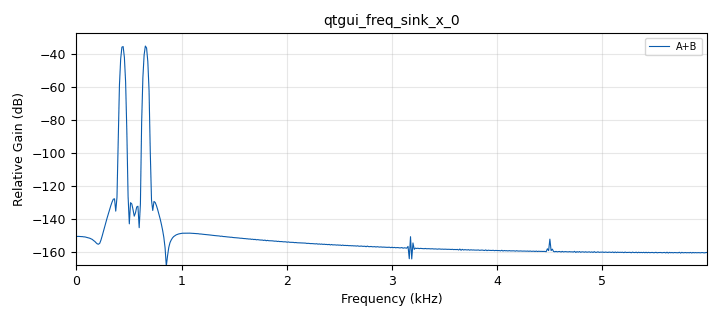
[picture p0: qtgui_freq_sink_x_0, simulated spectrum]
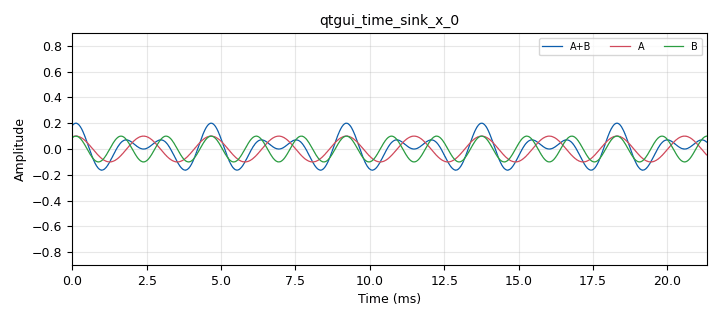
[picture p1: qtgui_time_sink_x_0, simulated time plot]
<?xml version='1.0' encoding='utf-8'?>
<?grc format='1' created='3.7.13'?>
<flow_graph>
<block>
<key>options</key>
<param><key>id</key><value>LeftRightAudio</value></param>
<param><key>author</key><value>Science Aficionado</value></param>
<param><key>description</key><value>Control Left+Rigth Audio Tones and Volume</value></param>
<param><key>generate_options</key><value>qt_gui</value></param>
<param><key>title</key><value>LeftRightAudio</value></param>
</block>
<block>
<key>variable_qtgui_range</key>
<param><key>id</key><value>ToneA</value></param>
<param><key>value</key><value>440</value></param>
<param><key>gui_hint</key><value>4,0, 1, 5</value></param>
<param><key>label</key><value>ToneA (Hz)</value></param>
<param><key>min_len</key><value>1</value></param>
<param><key>orient</key><value>Qt.Horizontal</value></param>
<param><key>start</key><value>110</value></param>
<param><key>step</key><value>110</value></param>
<param><key>stop</key><value>11000</value></param>
</block>
<block>
<key>variable_qtgui_range</key>
<param><key>id</key><value>ToneB</value></param>
<param><key>value</key><value>660</value></param>
<param><key>gui_hint</key><value>5,0,1,5</value></param>
<param><key>label</key><value>ToneB (Hz)</value></param>
<param><key>min_len</key><value>1</value></param>
<param><key>orient</key><value>Qt.Horizontal</value></param>
<param><key>start</key><value>110</value></param>
<param><key>step</key><value>110</value></param>
<param><key>stop</key><value>6600</value></param>
</block>
<block>
<key>variable_qtgui_range</key>
<param><key>id</key><value>VolumeA</value></param>
<param><key>value</key><value>.1</value></param>
<param><key>gui_hint</key><value>4,5,1,1</value></param>
<param><key>min_len</key><value>1</value></param>
<param><key>orient</key><value>Qt.Horizontal</value></param>
<param><key>start</key><value>0</value></param>
<param><key>step</key><value>.05</value></param>
<param><key>stop</key><value>1</value></param>
<param><key>widget</key><value>dial</value></param>
</block>
<block>
<key>variable_qtgui_range</key>
<param><key>id</key><value>VolumeB</value></param>
<param><key>value</key><value>.1</value></param>
<param><key>gui_hint</key><value>5,5,1,1</value></param>
<param><key>min_len</key><value>1</value></param>
<param><key>orient</key><value>Qt.Horizontal</value></param>
<param><key>start</key><value>0</value></param>
<param><key>step</key><value>.05</value></param>
<param><key>stop</key><value>1</value></param>
<param><key>widget</key><value>dial</value></param>
</block>
<block>
<key>variable</key>
<param><key>id</key><value>samp_rate</value></param>
<param><key>value</key><value>48000</value></param>
</block>
<block>
<key>analog_sig_source_x</key>
<param><key>id</key><value>SourceA</value></param>
<param><key>amp</key><value>VolumeA</value></param>
<param><key>freq</key><value>ToneA</value></param>
<param><key>offset</key><value>0</value></param>
<param><key>type</key><value>float</value></param>
<param><key>samp_rate</key><value>samp_rate</value></param>
<param><key>waveform</key><value>analog.GR_COS_WAVE</value></param>
</block>
<block>
<key>analog_sig_source_x</key>
<param><key>id</key><value>SourceB</value></param>
<param><key>amp</key><value>VolumeB</value></param>
<param><key>freq</key><value>ToneB</value></param>
<param><key>offset</key><value>0</value></param>
<param><key>type</key><value>float</value></param>
<param><key>samp_rate</key><value>samp_rate</value></param>
<param><key>waveform</key><value>analog.GR_COS_WAVE</value></param>
</block>
<block>
<key>audio_sink</key>
<param><key>id</key><value>audio_sink_0</value></param>
<param><key>num_inputs</key><value>2</value></param>
<param><key>ok_to_block</key><value>False</value></param>
<param><key>samp_rate</key><value>samp_rate</value></param>
</block>
<block>
<key>audio_source</key>
<param><key>id</key><value>audio_source_0</value></param>
<param><key>samp_rate</key><value>samp_rate</value></param>
</block>
<block>
<key>blocks_add_xx</key>
<param><key>id</key><value>blocks_add_xx_0</value></param>
<param><key>type</key><value>float</value></param>
</block>
<block>
<key>blocks_add_xx</key>
<param><key>id</key><value>blocks_add_xx_0_0</value></param>
<param><key>type</key><value>float</value></param>
</block>
<block>
<key>blocks_multiply_const_vxx</key>
<param><key>id</key><value>blocks_multiply_const_vxx_0_2</value></param>
<param><key>const</key><value>0.</value></param>
<param><key>type</key><value>float</value></param>
</block>
<block>
<key>qtgui_freq_sink_x</key>
<param><key>id</key><value>qtgui_freq_sink_x_0</value></param>
<param><key>autoscale</key><value>True</value></param>
<param><key>bw</key><value>samp_rate/4</value></param>
<param><key>fc</key><value>0</value></param>
<param><key>fftsize</key><value>1024</value></param>
<param><key>gui_hint</key><value>2,0,2,6</value></param>
<param><key>grid</key><value>True</value></param>
<param><key>label1</key><value>A+B</value></param>
<param><key>showports</key><value>True</value></param>
<param><key>freqhalf</key><value>False</value></param>
<param><key>type</key><value>float</value></param>
<param><key>wintype</key><value>firdes.WIN_BLACKMAN_hARRIS</value></param>
<param><key>ymax</key><value>0</value></param>
</block>
<block>
<key>qtgui_time_sink_x</key>
<param><key>id</key><value>qtgui_time_sink_x_0</value></param>
<param><key>entags</key><value>False</value></param>
<param><key>gui_hint</key><value>0,0,2,6</value></param>
<param><key>color1</key><value>"blue"</value></param>
<param><key>label1</key><value>A+B</value></param>
<param><key>color2</key><value>"dark red"</value></param>
<param><key>label2</key><value>A</value></param>
<param><key>color3</key><value>"green"</value></param>
<param><key>label3</key><value>B</value></param>
<param><key>nconnections</key><value>3</value></param>
<param><key>size</key><value>1024</value></param>
<param><key>srate</key><value>samp_rate</value></param>
<param><key>type</key><value>float</value></param>
<param><key>ymax</key><value>.9</value></param>
<param><key>ymin</key><value>-.9</value></param>
</block>
<block>
<key>rational_resampler_xxx</key>
<param><key>id</key><value>rational_resampler_xxx_0</value></param>
<param><key>decim</key><value>4</value></param>
<param><key>interp</key><value>1</value></param>
<param><key>taps</key><value></value></param>
<param><key>type</key><value>fff</value></param>
</block>
<connection><source_block_id>SourceA</source_block_id><sink_block_id>blocks_add_xx_0</sink_block_id><source_key>0</source_key><sink_key>1</sink_key></connection>
<connection><source_block_id>SourceA</source_block_id><sink_block_id>blocks_add_xx_0_0</sink_block_id><source_key>0</source_key><sink_key>0</sink_key></connection>
<connection><source_block_id>SourceA</source_block_id><sink_block_id>qtgui_time_sink_x_0</sink_block_id><source_key>0</source_key><sink_key>1</sink_key></connection>
<connection><source_block_id>SourceB</source_block_id><sink_block_id>audio_sink_0</sink_block_id><source_key>0</source_key><sink_key>1</sink_key></connection>
<connection><source_block_id>SourceB</source_block_id><sink_block_id>blocks_add_xx_0_0</sink_block_id><source_key>0</source_key><sink_key>1</sink_key></connection>
<connection><source_block_id>SourceB</source_block_id><sink_block_id>qtgui_time_sink_x_0</sink_block_id><source_key>0</source_key><sink_key>2</sink_key></connection>
<connection><source_block_id>audio_source_0</source_block_id><sink_block_id>blocks_multiply_const_vxx_0_2</sink_block_id><source_key>0</source_key><sink_key>0</sink_key></connection>
<connection><source_block_id>blocks_add_xx_0</source_block_id><sink_block_id>audio_sink_0</sink_block_id><source_key>0</source_key><sink_key>0</sink_key></connection>
<connection><source_block_id>blocks_add_xx_0_0</source_block_id><sink_block_id>qtgui_time_sink_x_0</sink_block_id><source_key>0</source_key><sink_key>0</sink_key></connection>
<connection><source_block_id>blocks_add_xx_0_0</source_block_id><sink_block_id>rational_resampler_xxx_0</sink_block_id><source_key>0</source_key><sink_key>0</sink_key></connection>
<connection><source_block_id>blocks_multiply_const_vxx_0_2</source_block_id><sink_block_id>blocks_add_xx_0</sink_block_id><source_key>0</source_key><sink_key>0</sink_key></connection>
<connection><source_block_id>rational_resampler_xxx_0</source_block_id><sink_block_id>qtgui_freq_sink_x_0</sink_block_id><source_key>0</source_key><sink_key>0</sink_key></connection>
</flow_graph>
